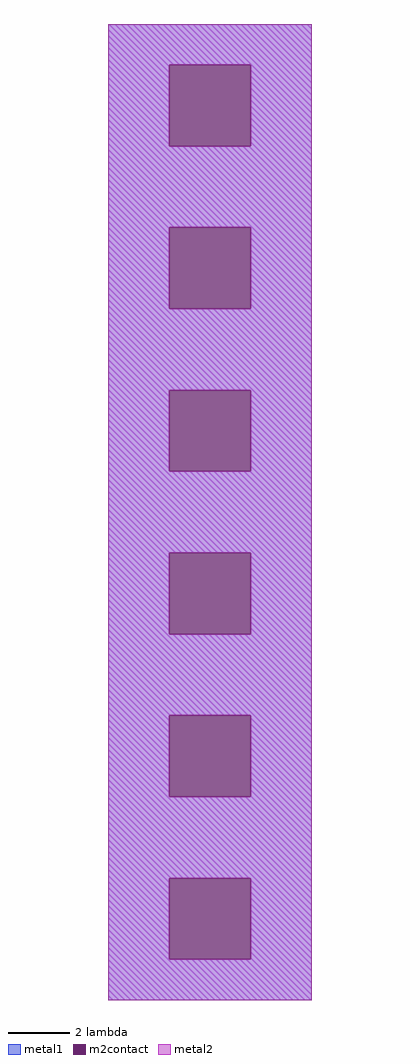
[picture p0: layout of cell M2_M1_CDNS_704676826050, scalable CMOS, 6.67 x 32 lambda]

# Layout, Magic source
magic
tech scmos
magscale 1 3
<< metal1 >>
rect -10 44 10 48
rect -10 36 -4 44
rect 4 36 10 44
rect -10 28 10 36
rect -10 20 -4 28
rect 4 20 10 28
rect -10 12 10 20
rect -10 4 -4 12
rect 4 4 10 12
rect -10 -4 10 4
rect -10 -12 -4 -4
rect 4 -12 10 -4
rect -10 -20 10 -12
rect -10 -28 -4 -20
rect 4 -28 10 -20
rect -10 -36 10 -28
rect -10 -44 -4 -36
rect 4 -44 10 -36
rect -10 -48 10 -44
<< m2contact >>
rect -4 36 4 44
rect -4 20 4 28
rect -4 4 4 12
rect -4 -12 4 -4
rect -4 -28 4 -20
rect -4 -44 4 -36
<< metal2 >>
rect -10 44 10 48
rect -10 36 -4 44
rect 4 36 10 44
rect -10 28 10 36
rect -10 20 -4 28
rect 4 20 10 28
rect -10 12 10 20
rect -10 4 -4 12
rect 4 4 10 12
rect -10 -4 10 4
rect -10 -12 -4 -4
rect 4 -12 10 -4
rect -10 -20 10 -12
rect -10 -28 -4 -20
rect 4 -28 10 -20
rect -10 -36 10 -28
rect -10 -44 -4 -36
rect 4 -44 10 -36
rect -10 -48 10 -44
<< end >>
